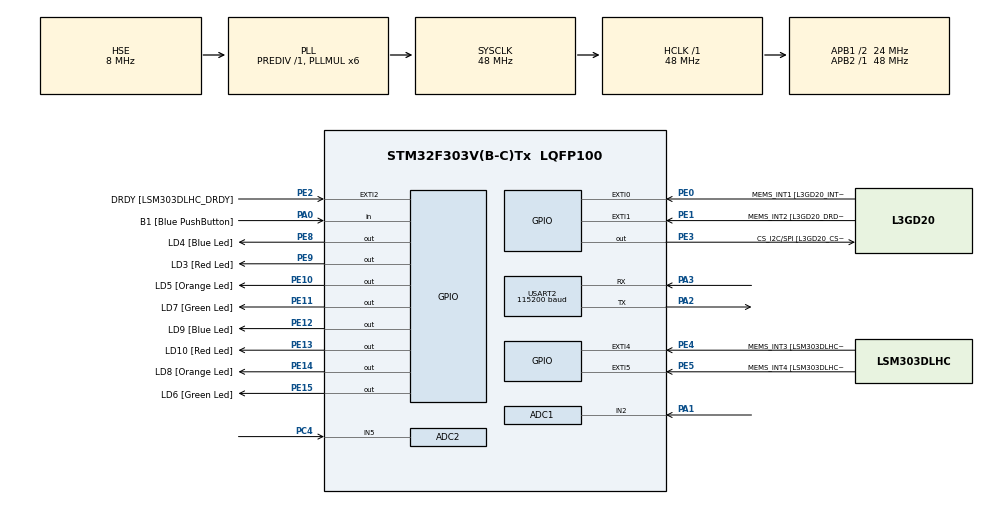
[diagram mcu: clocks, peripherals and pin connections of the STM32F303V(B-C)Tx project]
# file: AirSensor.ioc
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ADC1.Channel-0\#ChannelRegularConversion=ADC_CHANNEL_2
ADC1.ClockPrescaler=ADC_CLOCK_ASYNC_DIV1
ADC1.DiscontinuousConvMode=DISABLE
ADC1.EOCSelection=ADC_EOC_SINGLE_CONV
ADC1.EnableRegularConversion=ENABLE
ADC1.NbrOfConversionFlag=1
ADC1.Offset-0\#ChannelRegularConversion=0
ADC1.OffsetNumber-0\#ChannelRegularConversion=ADC_OFFSET_NONE
ADC1.Overrun=ADC_OVR_DATA_PRESERVED
ADC1.Rank-0\#ChannelRegularConversion=1
ADC1.SamplingTime-0\#ChannelRegularConversion=ADC_SAMPLETIME_1CYCLE_5
ADC1.master=1
ADC2.Channel-0\#ChannelRegularConversion=ADC_CHANNEL_5
ADC2.NbrOfConversionFlag=1
ADC2.Offset-0\#ChannelRegularConversion=0
ADC2.OffsetNumber-0\#ChannelRegularConversion=ADC_OFFSET_NONE
ADC2.Rank-0\#ChannelRegularConversion=1
ADC2.SamplingTime-0\#ChannelRegularConversion=ADC_SAMPLETIME_1CYCLE_5
Mcu.Family=STM32F3
Mcu.Name=STM32F303V(B-C)Tx
Mcu.Package=LQFP100
NVIC.PriorityGroup=NVIC_PRIORITYGROUP_0
PA0.GPIO_Label=B1 [Blue PushButton]
PA0.Signal=GPIO_Input
PA1.Mode=IN2-Single-Ended
PA1.Signal=ADC1_IN2
PA11.GPIO_Label=DM
PA11.Signal=USB_DM
PA12.GPIO_Label=DP
PA12.Signal=USB_DP
PA13.GPIO_Label=SWDIO
PA13.Mode=Serial_Wire
PA13.Signal=SYS_JTMS-SWDIO
PA14.GPIO_Label=SWCLK
PA14.Mode=Serial_Wire
PA14.Signal=SYS_JTCK-SWCLK
PA2.Mode=Asynchronous
PA2.Signal=USART2_TX
PA3.Mode=Asynchronous
PA3.Signal=USART2_RX
PA5.GPIO_Label=SPI1_SCK [L3GD20_SCL/SPC]
PA5.Signal=SPI1_SCK
PA6.GPIO_Label=SPI1_MISO [L3GD20_SA0/SDO]
PA6.Signal=SPI1_MISO
PA7.GPIO_Label=SPI1_MISO [L3GD20_SDA/SDI/SDO]
PA7.Signal=SPI1_MOSI
PB3.GPIO_Label=SWO
PB3.Signal=SYS_JTDO-TRACESWO
PB6.GPIO_Label=I2C1_SCL [LSM303DLHC_SCL]
PB6.Signal=I2C1_SCL
PB7.GPIO_Label=I2C1_SDA [LSM303DLHC_SDA]
PB7.Signal=I2C1_SDA
PC14-OSC32_IN.GPIO_Label=OSC32_IN
PC14-OSC32_IN.Signal=RCC_OSC32_IN
PC15-OSC32_OUT.GPIO_Label=OSC32_OUT
PC15-OSC32_OUT.Signal=RCC_OSC32_OUT
PC4.Mode=IN5-Single-Ended
PC4.Signal=ADC2_IN5
PE0.GPIO_Label=MEMS_INT1 [L3GD20_INT1]
PE0.GPIO_ModeDefaultEXTI=GPIO_MODE_EVT_RISING
PE0.Signal=GPXTI0
PE1.GPIO_Label=MEMS_INT2 [L3GD20_DRDY/INT2]
PE1.GPIO_ModeDefaultEXTI=GPIO_MODE_EVT_RISING
PE1.Signal=GPXTI1
PE10.GPIO_Label=LD5 [Orange Led]
PE10.Signal=GPIO_Output
PE11.GPIO_Label=LD7 [Green Led]
PE11.Signal=GPIO_Output
PE12.GPIO_Label=LD9 [Blue Led]
PE12.Signal=GPIO_Output
PE13.GPIO_Label=LD10 [Red Led]
PE13.Signal=GPIO_Output
PE14.GPIO_Label=LD8 [Orange Led]
PE14.Signal=GPIO_Output
PE15.GPIO_Label=LD6 [Green Led]
PE15.Signal=GPIO_Output
PE2.GPIO_Label=DRDY [LSM303DLHC_DRDY]
PE2.GPIO_ModeDefaultEXTI=GPIO_MODE_EVT_RISING
PE2.Signal=GPXTI2
PE3.GPIO_Label=CS_I2C/SPI [L3GD20_CS_I2C/SPI]
PE3.Signal=GPIO_Output
PE4.GPIO_Label=MEMS_INT3 [LSM303DLHC_INT1]
PE4.GPIO_ModeDefaultEXTI=GPIO_MODE_EVT_RISING
PE4.Signal=GPXTI4
PE5.GPIO_Label=MEMS_INT4 [LSM303DLHC_INT2]
PE5.GPIO_ModeDefaultEXTI=GPIO_MODE_EVT_RISING
PE5.Signal=GPXTI5
PE8.GPIO_Label=LD4 [Blue Led]
PE8.Signal=GPIO_Output
PE9.GPIO_Label=LD3 [Red Led]
PE9.Signal=GPIO_Output
PF0-OSC_IN.GPIO_Label=OSC_IN
PF0-OSC_IN.Mode=HSE-External-Clock-Source
PF0-OSC_IN.Signal=RCC_OSC_IN
PF1-OSC_OUT.GPIO_Label=OSC_OUT
PF1-OSC_OUT.Signal=RCC_OSC_OUT
ProjectManager.HeapSize=0x200
ProjectManager.StackSize=0x400
ProjectManager.TargetToolchain=STM32CubeIDE
RCC.AHBFreq_Value=48000000
RCC.APB1CLKDivider=RCC_HCLK_DIV2
RCC.APB1Freq_Value=24000000
RCC.APB1TimFreq_Value=48000000
RCC.APB2Freq_Value=48000000
RCC.APB2TimFreq_Value=48000000
RCC.CortexFreq_Value=48000000
RCC.HCLKFreq_Value=48000000
RCC.HSE_VALUE=8000000
RCC.HSI_VALUE=8000000
RCC.LSE_VALUE=32768
RCC.PLLMUL=RCC_PLL_MUL6
RCC.PLLSourceVirtual=RCC_PLLSOURCE_HSE
RCC.SYSCLKFreq_VALUE=48000000
RCC.SYSCLKSourceVirtual=RCC_SYSCLKSOURCE_PLLCLK
RCC.USBFreq_Value=48000000
USART2.BaudRate=115200
USART2.VirtualMode-Asynchronous=VM_ASYNC
board=STM32F3DISCOVERY

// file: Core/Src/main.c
/* USER CODE BEGIN Header */
/**
  ******************************************************************************
  * @file           : main.c
  * @brief          : Main program body
  ******************************************************************************
  * @attention
  *
  * <h2><center>&copy; Copyright (c) 2019 STMicroelectronics.
  * All rights reserved.</center></h2>
  *
  * This software component is licensed by ST under BSD 3-Clause license,
  * the "License"; You may not use this file except in compliance with the
  * License. You may obtain a copy of the License at:
  *                        opensource.org/licenses/BSD-3-Clause
  *
  ******************************************************************************
  */
/* USER CODE END Header */

#include "main.h"

/* USER CODE BEGIN Includes */
#include "sensor.h"
/* USER CODE END Includes */

ADC_HandleTypeDef hadc1;
ADC_HandleTypeDef hadc2;

UART_HandleTypeDef huart2;

void SystemClock_Config(void);
static void MX_GPIO_Init(void);
static void MX_ADC1_Init(void);
static void MX_ADC2_Init(void);
static void MX_USART2_UART_Init(void);

/* USER CODE BEGIN 0 */
SensorStruct AirSensing;
SensorStruct CoSensing;
 uint16_t AIRR[4]={LD6_Pin,LD4_Pin,LD8_Pin,LD3_Pin};
 uint16_t COO[4]={LD7_Pin,LD9_Pin,LD5_Pin,LD10_Pin};

/* USER CODE END 0 */

int main(void)
{
  /* USER CODE BEGIN 1 */
	uint16_t airlevel[4]={100,150,200,230};
	uint16_t colevel[4]={100,150,200,230};
	SensorInit(&AirSensing, &hadc1, AIRR);
	SensorInit(&CoSensing, &hadc2, COO);
	SetSensorAirLevels(&AirSensing, airlevel);
	SetSensorAirLevels(&CoSensing,  colevel);

  /* USER CODE END 1 */

  /* MCU Configuration--------------------------------------------------------*/

  /* Reset of all peripherals, Initializes the Flash interface and the Systick. */
  HAL_Init();

  /* Configure the system clock */
  SystemClock_Config();

  /* Initialize all configured peripherals */
  MX_GPIO_Init();
  MX_ADC1_Init();
  MX_ADC2_Init();
  MX_USART2_UART_Init();
  /* USER CODE BEGIN 2 */

  //HAL_UART_Transmit_IT(&huart2, (unsigned char*)"michal", 6);

  /* USER CODE END 2 */

  /* Infinite loop */
  /* USER CODE BEGIN WHILE */
AirSensing.CallibrationSamples=10;
CoSensing.CallibrationSamples=10;

  while (1)
  {
	  DisplaySensorState(&AirSensing);
	  DisplaySensorState(&CoSensing);

	  if(AirSensing.calibrated==0 || CoSensing.calibrated==0)
	  {
		  SensorCalibrate(&AirSensing, &CoSensing);
	  } else
	  {
		  EvaluateSensor(&AirSensing);
		  EvaluateSensor(&CoSensing);
	  }
    /* USER CODE END WHILE */

  }
}

void SystemClock_Config(void)
{
  RCC_OscInitTypeDef RCC_OscInitStruct = {0};
  RCC_ClkInitTypeDef RCC_ClkInitStruct = {0};
  RCC_PeriphCLKInitTypeDef PeriphClkInit = {0};

  /** Initializes the CPU, AHB and APB busses clocks
  */
  RCC_OscInitStruct.OscillatorType = RCC_OSCILLATORTYPE_HSE;
  RCC_OscInitStruct.HSEState = RCC_HSE_BYPASS;
  RCC_OscInitStruct.HSEPredivValue = RCC_HSE_PREDIV_DIV1;
  RCC_OscInitStruct.HSIState = RCC_HSI_ON;
  RCC_OscInitStruct.PLL.PLLState = RCC_PLL_ON;
  RCC_OscInitStruct.PLL.PLLSource = RCC_PLLSOURCE_HSE;
  RCC_OscInitStruct.PLL.PLLMUL = RCC_PLL_MUL6;
  if (HAL_RCC_OscConfig(&RCC_OscInitStruct) != HAL_OK)
  {
    Error_Handler();
  }
  /** Initializes the CPU, AHB and APB busses clocks
  */
  RCC_ClkInitStruct.ClockType = RCC_CLOCKTYPE_HCLK|RCC_CLOCKTYPE_SYSCLK
                              |RCC_CLOCKTYPE_PCLK1|RCC_CLOCKTYPE_PCLK2;
  RCC_ClkInitStruct.SYSCLKSource = RCC_SYSCLKSOURCE_PLLCLK;
  RCC_ClkInitStruct.AHBCLKDivider = RCC_SYSCLK_DIV1;
  RCC_ClkInitStruct.APB1CLKDivider = RCC_HCLK_DIV2;
  RCC_ClkInitStruct.APB2CLKDivider = RCC_HCLK_DIV1;

  if (HAL_RCC_ClockConfig(&RCC_ClkInitStruct, FLASH_LATENCY_1) != HAL_OK)
  {
    Error_Handler();
  }
  PeriphClkInit.PeriphClockSelection = RCC_PERIPHCLK_USART2|RCC_PERIPHCLK_ADC12;
  PeriphClkInit.Usart2ClockSelection = RCC_USART2CLKSOURCE_PCLK1;
  PeriphClkInit.Adc12ClockSelection = RCC_ADC12PLLCLK_DIV1;
  if (HAL_RCCEx_PeriphCLKConfig(&PeriphClkInit) != HAL_OK)
  {
    Error_Handler();
  }
}

static void MX_ADC1_Init(void)
{

  ADC_MultiModeTypeDef multimode = {0};
  ADC_ChannelConfTypeDef sConfig = {0};

  /** Common config
  */
  hadc1.Instance = ADC1;
  hadc1.Init.ClockPrescaler = ADC_CLOCK_ASYNC_DIV1;
  hadc1.Init.Resolution = ADC_RESOLUTION_12B;
  hadc1.Init.ScanConvMode = ADC_SCAN_DISABLE;
  hadc1.Init.ContinuousConvMode = DISABLE;
  hadc1.Init.DiscontinuousConvMode = DISABLE;
  hadc1.Init.ExternalTrigConvEdge = ADC_EXTERNALTRIGCONVEDGE_NONE;
  hadc1.Init.ExternalTrigConv = ADC_SOFTWARE_START;
  hadc1.Init.DataAlign = ADC_DATAALIGN_RIGHT;
  hadc1.Init.NbrOfConversion = 1;
  hadc1.Init.DMAContinuousRequests = DISABLE;
  hadc1.Init.EOCSelection = ADC_EOC_SINGLE_CONV;
  hadc1.Init.LowPowerAutoWait = DISABLE;
  hadc1.Init.Overrun = ADC_OVR_DATA_PRESERVED;
  if (HAL_ADC_Init(&hadc1) != HAL_OK)
  {
    Error_Handler();
  }
  /** Configure the ADC multi-mode
  */
  multimode.Mode = ADC_MODE_INDEPENDENT;
  if (HAL_ADCEx_MultiModeConfigChannel(&hadc1, &multimode) != HAL_OK)
  {
    Error_Handler();
  }
  /** Configure Regular Channel
  */
  sConfig.Channel = ADC_CHANNEL_2;
  sConfig.Rank = ADC_REGULAR_RANK_1;
  sConfig.SingleDiff = ADC_SINGLE_ENDED;
  sConfig.SamplingTime = ADC_SAMPLETIME_1CYCLE_5;
  sConfig.OffsetNumber = ADC_OFFSET_NONE;
  sConfig.Offset = 0;
  if (HAL_ADC_ConfigChannel(&hadc1, &sConfig) != HAL_OK)
  {
    Error_Handler();
  }

}

static void MX_ADC2_Init(void)
{

  ADC_ChannelConfTypeDef sConfig = {0};

  /** Common config
  */
  hadc2.Instance = ADC2;
  hadc2.Init.ClockPrescaler = ADC_CLOCK_ASYNC_DIV1;
  hadc2.Init.Resolution = ADC_RESOLUTION_12B;
  hadc2.Init.ScanConvMode = ADC_SCAN_DISABLE;
  hadc2.Init.ContinuousConvMode = DISABLE;
  hadc2.Init.DiscontinuousConvMode = DISABLE;
  hadc2.Init.ExternalTrigConvEdge = ADC_EXTERNALTRIGCONVEDGE_NONE;
  hadc2.Init.ExternalTrigConv = ADC_SOFTWARE_START;
  hadc2.Init.DataAlign = ADC_DATAALIGN_RIGHT;
  hadc2.Init.NbrOfConversion = 1;
  hadc2.Init.DMAContinuousRequests = DISABLE;
  hadc2.Init.EOCSelection = ADC_EOC_SINGLE_CONV;
  hadc2.Init.LowPowerAutoWait = DISABLE;
  hadc2.Init.Overrun = ADC_OVR_DATA_OVERWRITTEN;
  if (HAL_ADC_Init(&hadc2) != HAL_OK)
  {
    Error_Handler();
  }
  /** Configure Regular Channel
  */
  sConfig.Channel = ADC_CHANNEL_5;
  sConfig.Rank = ADC_REGULAR_RANK_1;
  sConfig.SingleDiff = ADC_SINGLE_ENDED;
  sConfig.SamplingTime = ADC_SAMPLETIME_1CYCLE_5;
  sConfig.OffsetNumber = ADC_OFFSET_NONE;
  sConfig.Offset = 0;
  if (HAL_ADC_ConfigChannel(&hadc2, &sConfig) != HAL_OK)
  {
    Error_Handler();
  }

}

static void MX_USART2_UART_Init(void)
{

  huart2.Instance = USART2;
  huart2.Init.BaudRate = 115200;
  huart2.Init.WordLength = UART_WORDLENGTH_8B;
  huart2.Init.StopBits = UART_STOPBITS_1;
  huart2.Init.Parity = UART_PARITY_NONE;
  huart2.Init.Mode = UART_MODE_TX_RX;
  huart2.Init.HwFlowCtl = UART_HWCONTROL_NONE;
  huart2.Init.OverSampling = UART_OVERSAMPLING_16;
  huart2.Init.OneBitSampling = UART_ONE_BIT_SAMPLE_DISABLE;
  huart2.AdvancedInit.AdvFeatureInit = UART_ADVFEATURE_NO_INIT;
  if (HAL_UART_Init(&huart2) != HAL_OK)
  {
    Error_Handler();
  }

}

static void MX_GPIO_Init(void)
{
  GPIO_InitTypeDef GPIO_InitStruct = {0};

  /* GPIO Ports Clock Enable */
  __HAL_RCC_GPIOE_CLK_ENABLE();
  __HAL_RCC_GPIOC_CLK_ENABLE();
  __HAL_RCC_GPIOF_CLK_ENABLE();
  __HAL_RCC_GPIOA_CLK_ENABLE();
  __HAL_RCC_GPIOB_CLK_ENABLE();

  /*Configure GPIO pin Output Level */
  HAL_GPIO_WritePin(GPIOE, CS_I2C_SPI_Pin|LD4_Pin|LD3_Pin|LD5_Pin
                          |LD7_Pin|LD9_Pin|LD10_Pin|LD8_Pin
                          |LD6_Pin, GPIO_PIN_RESET);

  /*Configure GPIO pins : DRDY_Pin MEMS_INT3_Pin MEMS_INT4_Pin MEMS_INT1_Pin
                           MEMS_INT2_Pin */
  GPIO_InitStruct.Pin = DRDY_Pin|MEMS_INT3_Pin|MEMS_INT4_Pin|MEMS_INT1_Pin
                          |MEMS_INT2_Pin;
  GPIO_InitStruct.Mode = GPIO_MODE_EVT_RISING;
  GPIO_InitStruct.Pull = GPIO_NOPULL;
  HAL_GPIO_Init(GPIOE, &GPIO_InitStruct);

  /*Configure GPIO pins : CS_I2C_SPI_Pin LD4_Pin LD3_Pin LD5_Pin
                           LD7_Pin LD9_Pin LD10_Pin LD8_Pin
                           LD6_Pin */
  GPIO_InitStruct.Pin = CS_I2C_SPI_Pin|LD4_Pin|LD3_Pin|LD5_Pin
                          |LD7_Pin|LD9_Pin|LD10_Pin|LD8_Pin
                          |LD6_Pin;
  GPIO_InitStruct.Mode = GPIO_MODE_OUTPUT_PP;
  GPIO_InitStruct.Pull = GPIO_NOPULL;
  GPIO_InitStruct.Speed = GPIO_SPEED_FREQ_LOW;
  HAL_GPIO_Init(GPIOE, &GPIO_InitStruct);

  /*Configure GPIO pin : B1_Pin */
  GPIO_InitStruct.Pin = B1_Pin;
  GPIO_InitStruct.Mode = GPIO_MODE_INPUT;
  GPIO_InitStruct.Pull = GPIO_NOPULL;
  HAL_GPIO_Init(B1_GPIO_Port, &GPIO_InitStruct);

  /*Configure GPIO pins : SPI1_SCK_Pin SPI1_MISO_Pin SPI1_MISOA7_Pin */
  GPIO_InitStruct.Pin = SPI1_SCK_Pin|SPI1_MISO_Pin|SPI1_MISOA7_Pin;
  GPIO_InitStruct.Mode = GPIO_MODE_AF_PP;
  GPIO_InitStruct.Pull = GPIO_NOPULL;
  GPIO_InitStruct.Speed = GPIO_SPEED_FREQ_HIGH;
  GPIO_InitStruct.Alternate = GPIO_AF5_SPI1;
  HAL_GPIO_Init(GPIOA, &GPIO_InitStruct);

  /*Configure GPIO pins : DM_Pin DP_Pin */
  GPIO_InitStruct.Pin = DM_Pin|DP_Pin;
  GPIO_InitStruct.Mode = GPIO_MODE_AF_PP;
  GPIO_InitStruct.Pull = GPIO_NOPULL;
  GPIO_InitStruct.Speed = GPIO_SPEED_FREQ_HIGH;
  GPIO_InitStruct.Alternate = GPIO_AF14_USB;
  HAL_GPIO_Init(GPIOA, &GPIO_InitStruct);

  /*Configure GPIO pins : I2C1_SCL_Pin I2C1_SDA_Pin */
  GPIO_InitStruct.Pin = I2C1_SCL_Pin|I2C1_SDA_Pin;
  GPIO_InitStruct.Mode = GPIO_MODE_AF_OD;
  GPIO_InitStruct.Pull = GPIO_PULLUP;
  GPIO_InitStruct.Speed = GPIO_SPEED_FREQ_HIGH;
  GPIO_InitStruct.Alternate = GPIO_AF4_I2C1;
  HAL_GPIO_Init(GPIOB, &GPIO_InitStruct);

}

void Error_Handler(void)
{
}

/************************ (C) COPYRIGHT STMicroelectronics *****END OF FILE****/
